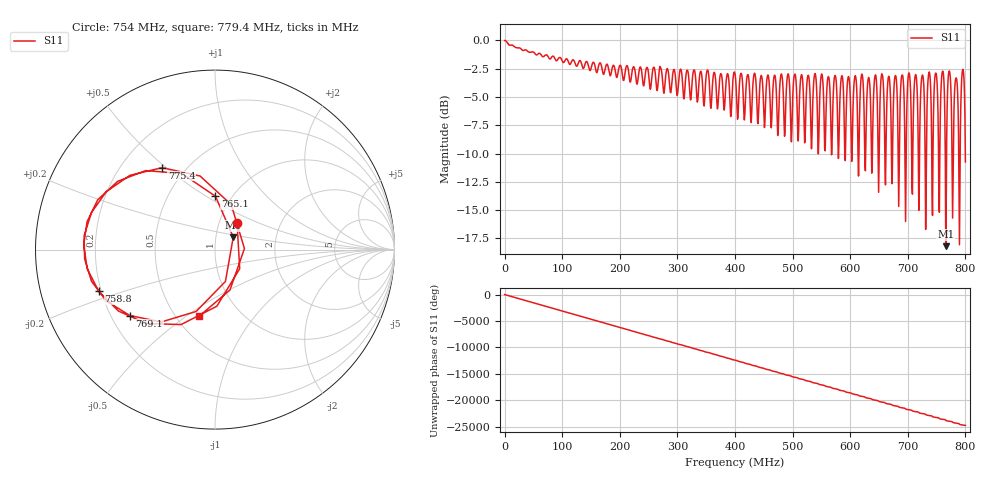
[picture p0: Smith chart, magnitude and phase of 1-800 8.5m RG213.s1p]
# Hz S RI R 50
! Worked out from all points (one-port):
!   1010 points, 100 kHz to 800 MHz, reference 50 ohm
!   lowest |S11| = -18.2 dB at 765.9 MHz (marker M1), VSWR 1.28, Z = 60.7 + j8.57 ohm
!   |S11| at or under -10 dB: 648.4089 MHz to 650.3288 MHz (1.92 MHz wide, 0.296 % of centre); 660.1748 MHz to 662.0806 MHz (1.906 MHz wide, 0.288 % of centre); 683.2245 MHz to 685.3633 MHz (2.139 MHz wide, 0.313 % of centre)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
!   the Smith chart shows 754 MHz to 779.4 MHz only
!   S11 on the Smith chart (normalised r, x): 754 MHz: 1.22, +0.38; 758.8 MHz: 0.19, -0.17; 765.1 MHz: 0.84, +0.55; 769.1 MHz: 0.28, -0.32; 775.4 MHz: 0.37, +0.48; 779.4 MHz: 0.65, -0.56
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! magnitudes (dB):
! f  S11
! 100 kHz  0.0
! 100.8 MHz  -1.9
! 200.7 MHz  -2.2
! 300.6 MHz  -4.7
! 400.4 MHz  -3.1
! 500.3 MHz  -5.0
! 600.2 MHz  -5.1
! 700.1 MHz  -3.5
! 708.8 MHz  -9.5
! 713.6 MHz  -3.0
! 719.9 MHz  -12.7
! 725.5 MHz  -3.1
! 731.8 MHz  -12.8
! 737.4 MHz  -2.8
! 742.9 MHz  -15.5
! 748.5 MHz  -2.9
! 754 MHz  -14.3
! 758.8 MHz  -3.2
! 765.1 MHz  -10.5
! 765.9 MHz  -18.2
! 769.1 MHz  -4.4
! 772.3 MHz  -2.7
! 775.4 MHz  -5.3
! 779.4 MHz  -8.4
! 784.1 MHz  -3.3
! 790.5 MHz  -12.4
! 795.2 MHz  -2.6
! 800 MHz  -10.7
